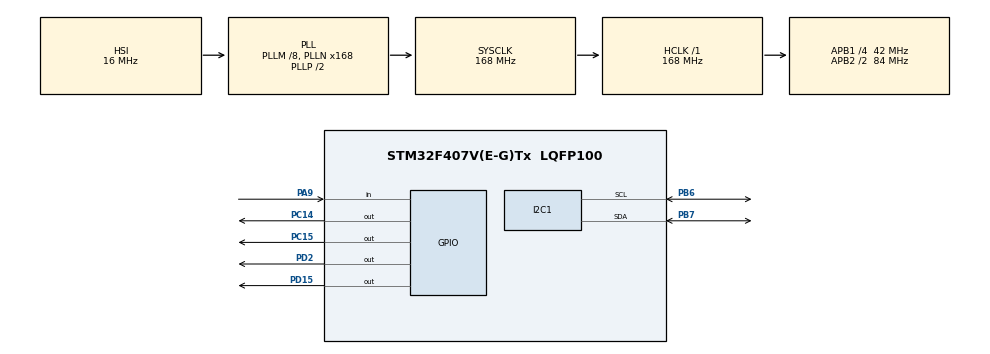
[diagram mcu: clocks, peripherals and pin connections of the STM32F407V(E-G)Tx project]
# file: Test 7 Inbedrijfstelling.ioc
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Mcu.Family=STM32F4
Mcu.Name=STM32F407V(E-G)Tx
Mcu.Package=LQFP100
NVIC.PriorityGroup=NVIC_PRIORITYGROUP_0
PA9.Signal=GPIO_Input
PB6.Mode=I2C
PB6.Signal=I2C1_SCL
PB7.Mode=I2C
PB7.Signal=I2C1_SDA
PC14-OSC32_IN.Signal=GPIO_Output
PC15-OSC32_OUT.Signal=GPIO_Output
PD15.Signal=GPIO_Output
PD2.Signal=GPIO_Output
ProjectManager.HeapSize=0x200
ProjectManager.StackSize=0x400
ProjectManager.TargetToolchain=STM32CubeIDE
RCC.48MHZClocksFreq_Value=48000000
RCC.AHBFreq_Value=168000000
RCC.APB1CLKDivider=RCC_HCLK_DIV4
RCC.APB1Freq_Value=42000000
RCC.APB1TimFreq_Value=84000000
RCC.APB2CLKDivider=RCC_HCLK_DIV2
RCC.APB2Freq_Value=84000000
RCC.APB2TimFreq_Value=168000000
RCC.CortexFreq_Value=168000000
RCC.HCLKFreq_Value=168000000
RCC.HSE_VALUE=8000000
RCC.HSI_VALUE=16000000
RCC.LSE_VALUE=32768
RCC.PLLM=8
RCC.PLLN=168
RCC.PLLQ=7
RCC.SYSCLKFreq_VALUE=168000000
RCC.SYSCLKSource=RCC_SYSCLKSOURCE_PLLCLK
RCC.VCOOutputFreq_Value=336000000
board=STM32F407G-DISC1

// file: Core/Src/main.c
/* USER CODE BEGIN Header */
/**
  ******************************************************************************
  * @file           : main.c
  * @brief          : Main program body
  ******************************************************************************
  * @attention
  *
  * Copyright (c) 2024 STMicroelectronics.
  * All rights reserved.
  *
  * This software is licensed under terms that can be found in the LICENSE file
  * in the root directory of this software component.
  * If no LICENSE file comes with this software, it is provided AS-IS.
  *
  ******************************************************************************
  */
/* USER CODE END Header */
#include "main.h"

/* USER CODE BEGIN PD */
#define TCA9543A_ADDR 0x70 // TCA9543A I2C-adres
#define ADS1115_BASE_ADDR 0x48 // Basisadres voor ADS1115

#define POSITION_MIN 0
#define POSITION_MAX 100

#define MOTOR_RIGHT_PIN GPIO_PIN_14
#define MOTOR_LEFT_PIN GPIO_PIN_15
#define MOTOR_GPIO_PORT GPIOC
/* USER CODE END PD */

I2C_HandleTypeDef hi2c1;

/* USER CODE BEGIN PV */
float current_position = 0.0;
float current_percentage = 0.0;
uint16_t results[24];
/* USER CODE END PV */

void SystemClock_Config(void);
static void MX_GPIO_Init(void);
static void MX_I2C1_Init(void);
/* USER CODE BEGIN PFP */
void moveMotor(float percentage);
/* USER CODE END PFP */

/* USER CODE BEGIN 0 */
void selectI2CChannel(uint8_t channel) {
    uint8_t config = 1 << channel;
    HAL_I2C_Master_Transmit(&hi2c1, TCA9543A_ADDR << 1, &config, 1, HAL_MAX_DELAY);
}

uint16_t readADS1115(uint8_t addr, uint8_t channel) {
    uint8_t config[3];
    uint8_t data[2];

    // Config register to single-shot mode, selecting the correct channel
    config[0] = 0x01; // Config register

    // Configuration settings: Single-shot mode, FSR ±6.144V, 128SPS
    // Different AINx for different channels
    switch(channel) {
        case 0: config[1] = 0xC3; break; // AIN0
        case 1: config[1] = 0xD3; break; // AIN1
        case 2: config[1] = 0xE3; break; // AIN2
        case 3: config[1] = 0xF3; break; // AIN3
    }

    config[2] = 0x83; // LSB: Disable comparator

    HAL_I2C_Master_Transmit(&hi2c1, addr << 1, config, 3, HAL_MAX_DELAY);

    // Wait for the conversion to complete
    HAL_Delay(8); // ADS1115 max conversion time is 8ms

    // Read conversion result
    uint8_t reg = 0x00; // Conversion register
    HAL_I2C_Master_Transmit(&hi2c1, addr << 1, &reg, 1, HAL_MAX_DELAY);
    HAL_I2C_Master_Receive(&hi2c1, addr << 1, data, 2, HAL_MAX_DELAY);

    uint16_t result = (data[0] << 8) | data[1];
    return result;
}

float adc_to_percentage(uint32_t adc_value) {
    // Bereken de overeenkomstige spanning (16-bit ADC en 4.096V referentie)
    float voltage = (adc_value / 32767.0) * 4.096;

    // Lineaire conversie van spanning naar percentage
    // Spanningsbereik 0.95V tot 4.00V komt overeen met 0% tot 100%
    float percentage = (voltage - 0.95) / (4.00 - 0.95) * 100.0;

    // Beperk percentage tussen 0% en 100%
    if (percentage < 0) percentage = 0;
    if (percentage > 100) percentage = 100;

    return percentage;
}

void Inbedrijfstelling(void) {
    // Motor naar rechts draaien
    HAL_GPIO_WritePin(MOTOR_GPIO_PORT, MOTOR_RIGHT_PIN, GPIO_PIN_SET);
    HAL_GPIO_WritePin(MOTOR_GPIO_PORT, MOTOR_LEFT_PIN, GPIO_PIN_RESET);
    HAL_Delay(8000); // 5 seconden vertraging

    // Motor naar links draaien
    HAL_GPIO_WritePin(MOTOR_GPIO_PORT, MOTOR_RIGHT_PIN, GPIO_PIN_RESET);
    HAL_GPIO_WritePin(MOTOR_GPIO_PORT, MOTOR_LEFT_PIN, GPIO_PIN_SET);
    HAL_Delay(8000); // 5 seconden vertraging

    // Motor stoppen
    HAL_GPIO_WritePin(MOTOR_GPIO_PORT, MOTOR_RIGHT_PIN, GPIO_PIN_RESET);
    HAL_GPIO_WritePin(MOTOR_GPIO_PORT, MOTOR_LEFT_PIN, GPIO_PIN_RESET);
}

/* USER CODE END 0 */

int main(void)
{

  /* MCU Configuration--------------------------------------------------------*/

  /* Reset of all peripherals, Initializes the Flash interface and the Systick. */
  HAL_Init();

  /* Configure the system clock */
  SystemClock_Config();

  /* Initialize all configured peripherals */
  MX_GPIO_Init();
  MX_I2C1_Init();
  /* USER CODE BEGIN 2 */
  HAL_GPIO_WritePin(GPIOD, GPIO_PIN_2, GPIO_PIN_SET);
  /* USER CODE END 2 */

  /* Infinite loop */
  /* USER CODE BEGIN WHILE */
  while (1)
  {
	  for (uint8_t channel = 0; channel < 2; channel++) {
	  		  selectI2CChannel(channel);
	  		  uint8_t ads_addresses[3] = {0x4A, 0x49, 0x48}; // ADDR: SDA, 5V, GND
	  		  for (uint8_t i = 0; i < 3; i++) {
	  			  uint8_t addr = ads_addresses[i];
	  			  for (uint8_t j = 0; j < 4; j++) {
	  				  uint16_t result = readADS1115(addr, j); // Pas de readADS1115 aan om het kanaal door te geven
	  				  results[channel * 12 + i * 4 + j] = result;
	  				  HAL_Delay(100); // Eventueel wat vertraging om het uitlezen stabiel te houden
	  	                  }
	  	              }
	  	  	  	  }
	  uint32_t adc_value = results[20];
	  current_position = adc_to_percentage(adc_value);
	  if (HAL_GPIO_ReadPin(GPIOA, GPIO_PIN_9) == GPIO_PIN_SET)
	  {
		  Inbedrijfstelling();
	  }
	  HAL_Delay(100);
    /* USER CODE END WHILE */

  }
}

void SystemClock_Config(void)
{
  RCC_OscInitTypeDef RCC_OscInitStruct = {0};
  RCC_ClkInitTypeDef RCC_ClkInitStruct = {0};

  /** Configure the main internal regulator output voltage
  */
  __HAL_RCC_PWR_CLK_ENABLE();
  __HAL_PWR_VOLTAGESCALING_CONFIG(PWR_REGULATOR_VOLTAGE_SCALE1);

  /** Initializes the RCC Oscillators according to the specified parameters
  * in the RCC_OscInitTypeDef structure.
  */
  RCC_OscInitStruct.OscillatorType = RCC_OSCILLATORTYPE_HSI;
  RCC_OscInitStruct.HSIState = RCC_HSI_ON;
  RCC_OscInitStruct.HSICalibrationValue = RCC_HSICALIBRATION_DEFAULT;
  RCC_OscInitStruct.PLL.PLLState = RCC_PLL_ON;
  RCC_OscInitStruct.PLL.PLLSource = RCC_PLLSOURCE_HSI;
  RCC_OscInitStruct.PLL.PLLM = 8;
  RCC_OscInitStruct.PLL.PLLN = 168;
  RCC_OscInitStruct.PLL.PLLP = RCC_PLLP_DIV2;
  RCC_OscInitStruct.PLL.PLLQ = 7;
  if (HAL_RCC_OscConfig(&RCC_OscInitStruct) != HAL_OK)
  {
    Error_Handler();
  }

  /** Initializes the CPU, AHB and APB buses clocks
  */
  RCC_ClkInitStruct.ClockType = RCC_CLOCKTYPE_HCLK|RCC_CLOCKTYPE_SYSCLK
                              |RCC_CLOCKTYPE_PCLK1|RCC_CLOCKTYPE_PCLK2;
  RCC_ClkInitStruct.SYSCLKSource = RCC_SYSCLKSOURCE_PLLCLK;
  RCC_ClkInitStruct.AHBCLKDivider = RCC_SYSCLK_DIV1;
  RCC_ClkInitStruct.APB1CLKDivider = RCC_HCLK_DIV4;
  RCC_ClkInitStruct.APB2CLKDivider = RCC_HCLK_DIV2;

  if (HAL_RCC_ClockConfig(&RCC_ClkInitStruct, FLASH_LATENCY_5) != HAL_OK)
  {
    Error_Handler();
  }
}

static void MX_I2C1_Init(void)
{

  hi2c1.Instance = I2C1;
  hi2c1.Init.ClockSpeed = 100000;
  hi2c1.Init.DutyCycle = I2C_DUTYCYCLE_2;
  hi2c1.Init.OwnAddress1 = 0;
  hi2c1.Init.AddressingMode = I2C_ADDRESSINGMODE_7BIT;
  hi2c1.Init.DualAddressMode = I2C_DUALADDRESS_DISABLE;
  hi2c1.Init.OwnAddress2 = 0;
  hi2c1.Init.GeneralCallMode = I2C_GENERALCALL_DISABLE;
  hi2c1.Init.NoStretchMode = I2C_NOSTRETCH_DISABLE;
  if (HAL_I2C_Init(&hi2c1) != HAL_OK)
  {
    Error_Handler();
  }

}

static void MX_GPIO_Init(void)
{
  GPIO_InitTypeDef GPIO_InitStruct = {0};

  /* GPIO Ports Clock Enable */
  __HAL_RCC_GPIOC_CLK_ENABLE();
  __HAL_RCC_GPIOD_CLK_ENABLE();
  __HAL_RCC_GPIOA_CLK_ENABLE();
  __HAL_RCC_GPIOB_CLK_ENABLE();

  /*Configure GPIO pin Output Level */
  HAL_GPIO_WritePin(GPIOC, GPIO_PIN_14|GPIO_PIN_15, GPIO_PIN_RESET);

  /*Configure GPIO pin Output Level */
  HAL_GPIO_WritePin(GPIOD, GPIO_PIN_15|GPIO_PIN_2, GPIO_PIN_RESET);

  /*Configure GPIO pins : PC14 PC15 */
  GPIO_InitStruct.Pin = GPIO_PIN_14|GPIO_PIN_15;
  GPIO_InitStruct.Mode = GPIO_MODE_OUTPUT_PP;
  GPIO_InitStruct.Pull = GPIO_NOPULL;
  GPIO_InitStruct.Speed = GPIO_SPEED_FREQ_LOW;
  HAL_GPIO_Init(GPIOC, &GPIO_InitStruct);

  /*Configure GPIO pins : PD15 PD2 */
  GPIO_InitStruct.Pin = GPIO_PIN_15|GPIO_PIN_2;
  GPIO_InitStruct.Mode = GPIO_MODE_OUTPUT_PP;
  GPIO_InitStruct.Pull = GPIO_NOPULL;
  GPIO_InitStruct.Speed = GPIO_SPEED_FREQ_LOW;
  HAL_GPIO_Init(GPIOD, &GPIO_InitStruct);

  /*Configure GPIO pin : PA9 */
  GPIO_InitStruct.Pin = GPIO_PIN_9;
  GPIO_InitStruct.Mode = GPIO_MODE_INPUT;
  GPIO_InitStruct.Pull = GPIO_NOPULL;
  HAL_GPIO_Init(GPIOA, &GPIO_InitStruct);

}

void Error_Handler(void)
{
  __disable_irq();
  while (1)
  {
  }
}
